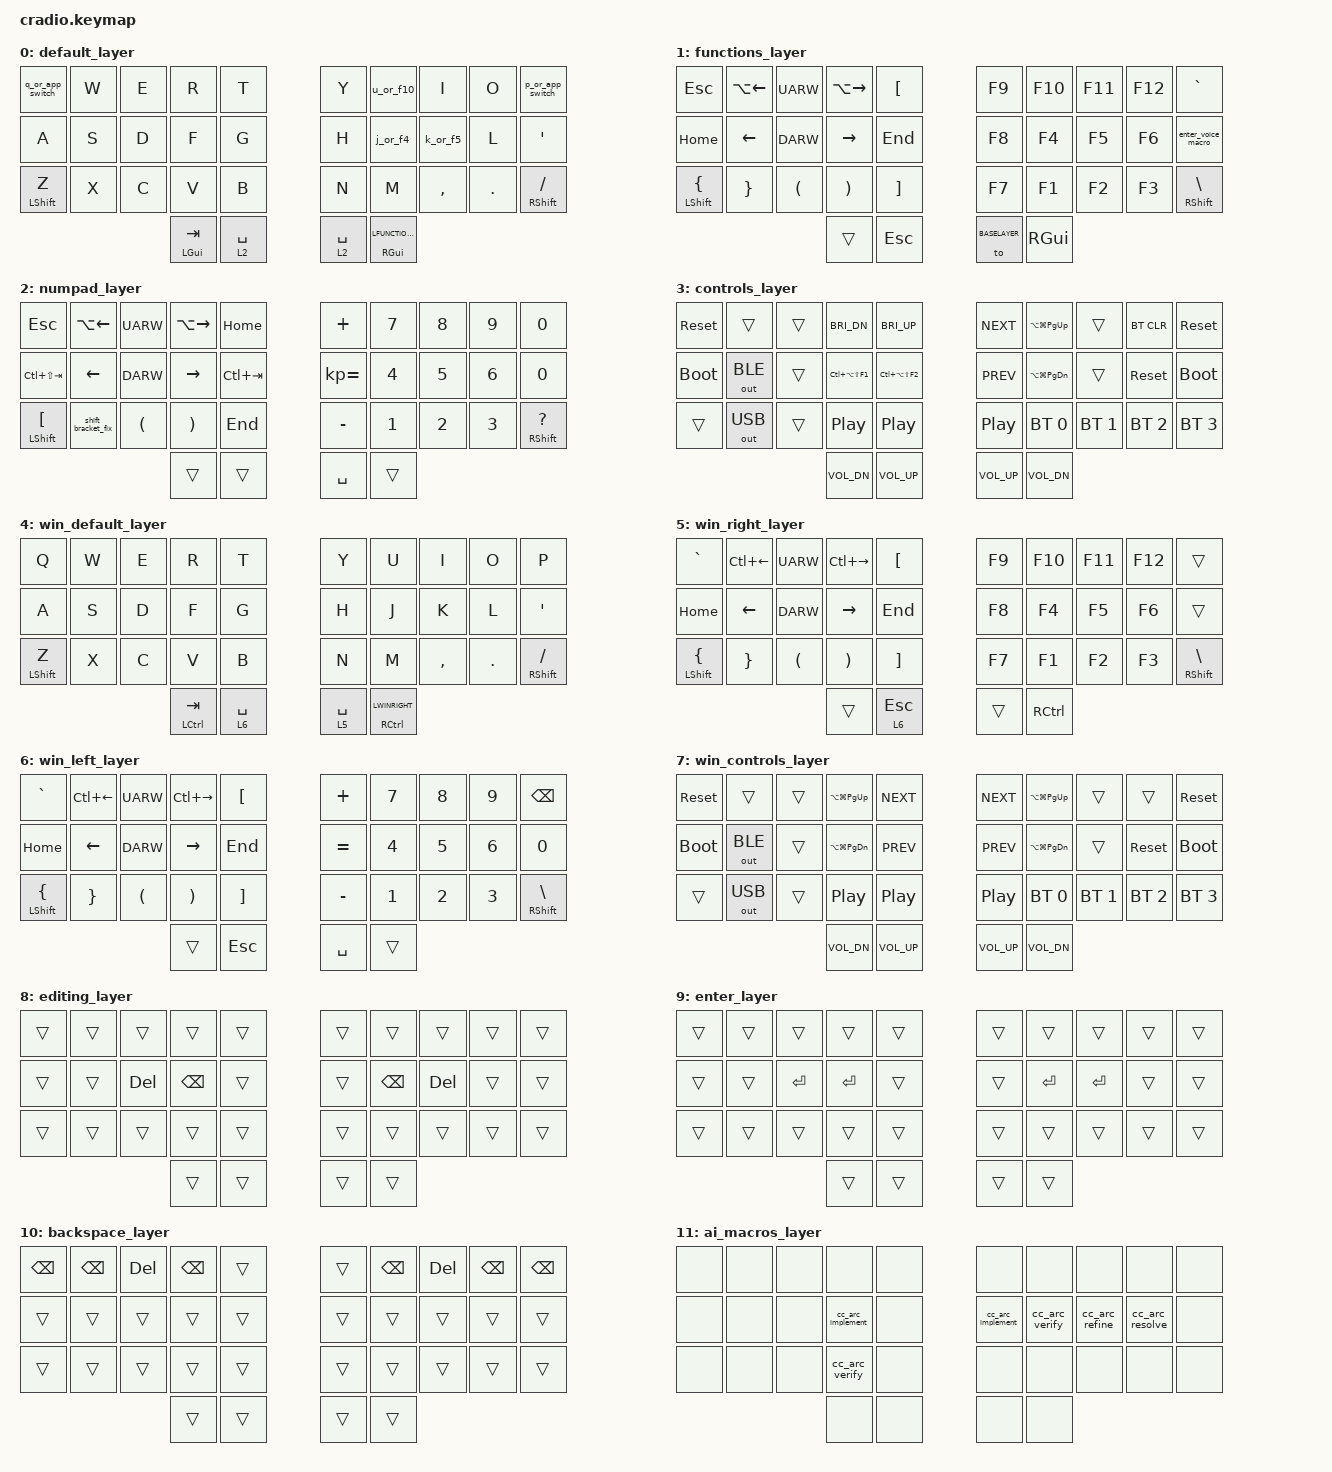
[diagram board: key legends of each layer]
// Copyright (c) 2022 The ZMK Contributors
// SPDX-License-Identifier: MIT

#include <behaviors.dtsi>
#include <dt-bindings/zmk/keys.h>
#include <dt-bindings/zmk/bt.h>
#include <dt-bindings/zmk/outputs.h>
//#include <dt-binding/zmk/behavior-com
//#include <dt-bindings/zmk/behavior>

// Home row mods macro
//#define HRML(k1,k2,k3,k4) &ht LSHFT k1  &ht LALT k2  &ht LCTRL k3  &ht LGUI k4
//#define HRMR(k1,k2,k3,k4) &ht RGUI k1  &ht RCTRL k2  &ht RALT k3  &ht RSHFT k4

#define BASELAYER 0
#define LFUNCTIONS 1
#define LNUMPAD 2
#define LCONTROL 3
#define WINBASE 4
#define LWINRIGHT 5
#define LWINLEFT 6
#define LWINCONTROL 7
#define LEDITING 8
#define LENTER 9
#define LBACKSPACE 10
// #define LRIGHTARROWS 11
#define LAIMACROS 11
// #define LMACROS 9




// &lt {
//     flavor = "hold-preferred";
//     tapping-term-ms = <300>;
//     quick-tap-ms = <290>;
// };
// &mt {
//     flavor = "tap-preferred";
//     tapping-term-ms = <180>;
// };
//TODO: maybe this should be a separate behavior
&sl {
    // release-after-ms = <2000>;
    /delete-property/ quick-release;
};

/ {
    behaviors {
        // ht: hold_tap {
        //     label = "hold_tap";
        //     compatible = "zmk,behavior-hold-tap";
        //     #binding-cells = <2>;
        //     flavor = "tap-preferred";
        //     tapping-term-ms = <220>;
        //     quick-tap-ms = <150>;
        //     global-quick-tap;
        //     bindings = <&kp>, <&kp>;
        // };
        // lt: layer_tap {
        //     label = "layer_tap";
        //     flavor = "hold-preferred";
        //     compatible = "zmk,behavior-hold-tap";
        //     tapping-term-ms = <230>;
        //     quick-tap-ms = <100>;
        //     bindings = <&kp>, <&kp>;
        // };

        lt_h: layer_tap_hold_preferred {
            #binding-cells = <2>;
            label = "layer_tap_hold_preferred";
            flavor = "hold-preferred";
            compatible = "zmk,behavior-hold-tap";
            tapping-term-ms = <200>;
            hold-while-undecided;
            bindings = <&mo>, <&kp>;
        };

        // Like lt_h but only right-hand keys trigger hold within tapping term.
        // Left-hand keys resolve as tap (space). After tapping-term, hold activates for both sides.
        lt_rh: layer_tap_right_hand {
            #binding-cells = <2>;
            label = "layer_tap_right_hand";
            flavor = "balanced";
            compatible = "zmk,behavior-hold-tap";
            tapping-term-ms = <200>;
            hold-trigger-key-positions = <5 6 7 8 9 15 16 17 18 19 25 26 27 28 29 33>;
            bindings = <&mo>, <&kp>;
        };

        // ht_sl: layer_tap_reversed {
        //     #binding-cells = <2>;
        //     label = "layer_tap_reversed"; 
        //     flavor = "hold-preferred";
        //     compatible = "zmk,behavior-hold-tap";
        //     tapping-term-ms = <200>;
        //     bindings = <&kp>, <&sl>;
        // };
        
        // This was to try and make a sticky layer
        // tdf: tap_dance_0 {
        //     compatible = "zmk,behavior-tap-dance";
        //     label = "TAP_DANCE_0";
        //     #binding-cells = <0>;
        //     tapping-term-ms = <180>;
        //     bindings = <&sl LFUNCTIONS>, <&to LFUNCTIONS>;
        // };

        // Key on hold, single tap layer on tap,
        l_or_key: layer_or_key {
            #binding-cells = <2>;
            label = "layer_or_key";
            flavor = "hold-preferred";
            compatible = "zmk,behavior-hold-tap";
            tapping-term-ms = <200>;
            // bindings = <&kp>, <&tdf>;
            bindings = <&kp>, <&sl>;
        };

        // Mod-tap with hold-preferred: immediately activates modifier when another key is pressed
        mt_h: mod_tap_hold_preferred {
            #binding-cells = <2>;
            label = "mod_tap_hold_preferred";
            flavor = "hold-preferred";
            compatible = "zmk,behavior-hold-tap";
            tapping-term-ms = <200>;
            bindings = <&kp>, <&kp>;
        };

        // Backspace, but delete if shift is held
        // bpsc_or_del: bpsc_or_del {
        //     compatible = "zmk,behavior-mod-morph";
        //     label = "bpsc_or_del";
        //     #binding-cells = <0>;
        //     bindings = <&kp BSPC>, <&kp DEL>;
        //     mods = <(MOD_RSFT|MOD_LSFT)>;
        // };

        // Avoid messing up when doing enclosed brackets quickly since they share the shift key
        shift_bracket_fix: shift_bracket_fix {
            compatible = "zmk,behavior-mod-morph";
            label = "shift_bracket_fix";
            #binding-cells = <0>;
            bindings = <&kp RBKT>, <&brackets_macro>;
            mods = <(MOD_LSFT)>;
        };

        //
        // The exceptions for function layer
        //
        j_or_f4: j_or_f4 {
            compatible = "zmk,behavior-mod-morph";
            label = "j_or_f4";
            #binding-cells = <0>;
            bindings = <&kp J>, <&kp F4>;
            mods = <(MOD_RGUI)>;
        };

        k_or_f5: k_or_f5 {
            compatible = "zmk,behavior-mod-morph";
            label = "k_or_f5";
            #binding-cells = <0>;
            bindings = <&kp K>, <&kp F5>;
            mods = <(MOD_RGUI)>;
        };

        comma_or_voice: comma_or_voice {
            compatible = "zmk,behavior-mod-morph";
            label = "comma_or_voice";
            #binding-cells = <0>;
            bindings = <&kp COMMA>, <&kp C_VOICE_COMMAND>;
            mods = <(MOD_RGUI)>;
        };

        u_or_f10: u_or_f10 {
            compatible = "zmk,behavior-mod-morph";
            label = "u_or_f10";
            #binding-cells = <0>;
            bindings = <&kp U>, <&kp F10>;
            mods = <(MOD_RGUI)>;
        };

        // The exceptions for LGUI
        q_or_app_switch: q_or_app_switch {
            compatible = "zmk,behavior-mod-morph";
            label = "q_or_app_switch";
            #binding-cells = <0>;
            bindings = <&kp Q>, <&kp TAB>;
            mods = <(MOD_LGUI)>;
            keep-mods = <(MOD_LGUI)>;
        };
        q_or_capslock: q_or_capslock {
            compatible = "zmk,behavior-mod-morph";
            label = "q_or_capslock";
            #binding-cells = <0>;
            bindings = <&kp Q>, <&kp CAPS>;
            mods = <(MOD_LGUI)>;
        };
        p_or_app_switch: p_or_app_switch {
            compatible = "zmk,behavior-mod-morph";
            label = "p_or_app_switch";
            #binding-cells = <0>;
            bindings = <&kp P>, <&kp TAB>;
            mods = <(MOD_RGUI)>;
            keep-mods = <(MOD_RGUI)>;
        };
        p_or_tab: p_or_tab {
            compatible = "zmk,behavior-mod-morph";
            label = "p_or_tab";
            #binding-cells = <0>;
            bindings = <&kp P>, <&kp TAB>;
            mods = <MOD_RGUI>;
        };
    };

    macros {
        editing_macro: editing_macro {
            compatible = "zmk,behavior-macro";
            label = "ZM_editing_macro";
            #binding-cells = <0>;
            wait-ms = <0>;
            tap-ms = <40>;
            // bindings = <&kp BSPC &mo LEDITING>;
            bindings
                = <&kp BACKSPACE>
                , <&macro_press &mo LBACKSPACE>
                , <&macro_pause_for_release>
                , <&macro_release &mo LBACKSPACE>
                ;
        };

        // Allows moving to the enter layer while sending an enter on the first press
        enter_macro: enter_macro {
            compatible = "zmk,behavior-macro";
            label = "ZM_enter_macro";
            #binding-cells = <0>;
            wait-ms = <0>;
            tap-ms = <40>;
            // bindings = <&kp BSPC &mo LEDITING>;
            bindings
                = <&kp ENTER>
                , <&macro_press &mo LENTER>
                , <&macro_pause_for_release>
                , <&macro_release &mo LENTER>
                ;
        };

        brackets_macro: brackets_macro {
            compatible = "zmk,behavior-macro";
            label = "ZM_brackets_macro";
            #binding-cells = <0>;
            wait-ms = <40>;
            tap-ms = <40>;
            bindings
                = <&kp LBKT &kp RBKT>
                ;
        };

        // Toggle Claude Code edit mode and refocus chat input
        cc_edit_mode: cc_edit_mode {
            compatible = "zmk,behavior-macro";
            label = "ZM_cc_edit_mode";
            #binding-cells = <0>;
            wait-ms = <40>;
            tap-ms = <40>;
            bindings
                = <&kp TAB>
                , <&kp SPACE>
                , <&kp LS(TAB)>
                ;
        };

        // Toggle Claude Code edit mode then open menu to a section
        cc_edit_menu: cc_edit_menu {
            compatible = "zmk,behavior-macro";
            label = "ZM_cc_edit_menu";
            #binding-cells = <0>;
            wait-ms = <40>;
            tap-ms = <40>;
            bindings
                = <&kp TAB>
                , <&kp SPACE>
                , <&kp TAB>
                , <&kp TAB>
                , <&kp TAB>
                , <&kp SPACE>
                , <&kp DOWN> , <&kp DOWN> , <&kp DOWN> , <&kp DOWN> , <&kp DOWN>
                , <&kp DOWN> , <&kp DOWN> , <&kp DOWN> , <&kp DOWN> , <&kp DOWN>
                , <&kp DOWN> , <&kp DOWN> , <&kp DOWN> , <&kp DOWN> , <&kp DOWN>
                , <&kp DOWN> , <&kp DOWN>
                ;
        };

        // Type /clear, submit, then toggle edit mode and open menu
        cc_clear_edit_menu: cc_clear_edit_menu {
            compatible = "zmk,behavior-macro";
            label = "ZM_cc_clear_edit_menu";
            #binding-cells = <0>;
            wait-ms = <20>;
            tap-ms = <40>;
            bindings
                = <&kp FSLH &kp C &kp L &kp E &kp A &kp R>
                , <&kp ENTER>
                , <&macro_wait_time 750>
                , <&kp TAB>
                , <&macro_wait_time 100>
                , <&kp SPACE>
                , <&macro_wait_time 250>
                , <&kp TAB>
                , <&kp TAB>
                , <&kp TAB>
                , <&macro_wait_time 50>
                , <&kp SPACE>
                , <&macro_wait_time 250>
                , <&kp DOWN> , <&kp DOWN> , <&kp DOWN> , <&kp DOWN> , <&kp DOWN>
                , <&kp DOWN> , <&kp DOWN> , <&kp DOWN> , <&kp DOWN> , <&kp DOWN>
                , <&kp DOWN> , <&kp DOWN> , <&kp DOWN> , <&kp DOWN> , <&kp DOWN>
                , <&kp DOWN> , <&kp DOWN>
                ;
        };

        // Shared prefix: type /clear, submit, wait, shift+tab to refocus
        cc_clear_focus: cc_clear_focus {
            compatible = "zmk,behavior-macro";
            label = "ZM_cc_clear_focus";
            #binding-cells = <0>;
            wait-ms = <20>;
            tap-ms = <40>;
            bindings
                = <&kp FSLH &kp C &kp L &kp E &kp A &kp R>
                , <&kp ENTER>
                , <&macro_wait_time 500>
                , <&kp LS(TAB)>
                , <&macro_wait_time 150>
                ;
        };

        // /clear then type /arc-
        cc_clear_arc: cc_clear_arc {
            compatible = "zmk,behavior-macro";
            label = "ZM_cc_clear_arc";
            #binding-cells = <0>;
            wait-ms = <20>;
            tap-ms = <40>;
            bindings = <&cc_clear_focus>, <&kp FSLH &kp A &kp R &kp C &kp MINUS>;
        };

        // /clear then type /spec-
        cc_clear_spec: cc_clear_spec {
            compatible = "zmk,behavior-macro";
            label = "ZM_cc_clear_spec";
            #binding-cells = <0>;
            wait-ms = <20>;
            tap-ms = <40>;
            bindings = <&cc_clear_focus>, <&kp FSLH &kp S &kp P &kp E &kp C &kp MINUS>;
        };

        // /clear then type /arc-implement
        cc_arc_implement: cc_arc_implement {
            compatible = "zmk,behavior-macro";
            label = "ZM_cc_arc_implement";
            #binding-cells = <0>;
            wait-ms = <20>;
            tap-ms = <40>;
            bindings = <&cc_clear_focus>, <&kp FSLH &kp A &kp R &kp C &kp MINUS &kp I &kp M &kp P &kp L &kp E &kp M &kp E &kp N &kp T>;
        };

        // /clear then type /arc-verify-implementation
        cc_arc_verify: cc_arc_verify {
            compatible = "zmk,behavior-macro";
            label = "ZM_cc_arc_verify";
            #binding-cells = <0>;
            wait-ms = <20>;
            tap-ms = <40>;
            bindings = <&cc_clear_focus>, <&kp FSLH &kp A &kp R &kp C &kp MINUS &kp V &kp E &kp R &kp I &kp F &kp Y &kp MINUS &kp I &kp M &kp P &kp L &kp E &kp M &kp E &kp N &kp T &kp A &kp T &kp I &kp O &kp N>;
        };

        // /clear then type /arc-refine-plan
        cc_arc_refine: cc_arc_refine {
            compatible = "zmk,behavior-macro";
            label = "ZM_cc_arc_refine";
            #binding-cells = <0>;
            wait-ms = <20>;
            tap-ms = <40>;
            bindings = <&cc_clear_focus>, <&kp FSLH &kp A &kp R &kp C &kp MINUS &kp R &kp E &kp F &kp I &kp N &kp E &kp MINUS &kp P &kp L &kp A &kp N>;
        };

        // /clear then type /arc-resolve-plan-issues
        cc_arc_resolve: cc_arc_resolve {
            compatible = "zmk,behavior-macro";
            label = "ZM_cc_arc_resolve";
            #binding-cells = <0>;
            wait-ms = <20>;
            tap-ms = <40>;
            bindings = <&cc_clear_focus>, <&kp FSLH &kp A &kp R &kp C &kp MINUS &kp R &kp E &kp S &kp O &kp L &kp V &kp E &kp MINUS &kp P &kp L &kp A &kp N &kp MINUS &kp I &kp S &kp S &kp U &kp E &kp S>;
        };

        // Enter then RGUI+COMMA (e.g., for voice input after submit)
        enter_voice_macro: enter_voice_macro {
            compatible = "zmk,behavior-macro";
            label = "ZM_enter_voice_macro";
            #binding-cells = <0>;
            wait-ms = <80>;
            tap-ms = <40>;
            bindings
                = <&kp ENTER>
                , <&kp RG(COMMA)>
                ;
        };

    };

    combos {
        compatible = "zmk,combos";

        // combo_esc {
        //     timeout-ms = <30>;
        //     key-positions = <0 1>;
        //     bindings = <&kp ESC>;
        // };
        // combo_bootloader {
        //     timeout-ms = <50>;
        //     key-positions = <0 1 2 3 4>;
        //     bindings = <&bootloader>;
        // };
        // combo_bootloader_both {
        //     timeout-ms = <70>;
        //     key-positions = <0 1 2 3 6 7 8 9>;
        //     bindings = <&bootloader>;
        // };

        // Enter and semi
        combo_enter_right {
            timeout-ms = <160>;
            slow-release;
            key-positions = <16 17 18>;
            bindings = <&enter_macro>;
            layers = <0 1 2 4 5 6>;
        };
        combo_enter_left {
            timeout-ms = <160>;
            slow-release;
            key-positions = <11 12 13>;
            bindings = <&enter_macro>;
            layers = <0 1 2 4 5 6>;
        };
        combo_semicolon_right {
            timeout-ms = <160>;
            key-positions = <16 17 18 19>;
            bindings = <&kp SEMICOLON>;
            layers = <0>;
        };

        // Used for doc formatting in VS Code
        // combo_shift_alt_f {
        //     timeout-ms = <160>;
        //     key-positions = <10 11 12 13>;
        //     bindings = <&kp LS(LA(F))>;
        //     layers = <0>;
        // };

        // AI macros layer (hold A+S, tap others)
        combo_ai_macros {
            timeout-ms = <160>;
            slow-release;
            key-positions = <10 11 12 13>;
            bindings = <&mo LAIMACROS>;
            layers = <0>;
        };
        
        // Claude Code: clear and type /spec-
        combo_cc_clear_spec {
            timeout-ms = <160>;
            key-positions = <11 12 13 14>;
            bindings = <&cc_clear_spec>;
            layers = <0>;
        };

        // Esc
        // combo_esc_left {
        //     timeout-ms = <100>;
        //     key-positions = <0 1 2 3>;
        //     bindings = <&kp ESC>;
        //     layers = <0 1 2 4 5 6>;
        // };

        // Caps
        combo_caps {
            timeout-ms = <120>;
            key-positions = <0 1 2>;
            bindings = <&kp CAPSLOCK>;
            layers = <0 1 2 4 5 6>;
        };

        // Backspace and delete
        // combo_delete_right {
        //     timeout-ms = <180>;
        //     key-positions = <8 9>;
        //     bindings = <&kp DEL>;
        //     layers = <LNUMPAD LWINLEFT>;
        // };
        // combo_backspace_left {
        //     timeout-ms = <80>;
        //     key-positions = <1 2 3>;
        //     bindings = <&kp BACKSPACE>;
        //     layers = <0 1 2 4 5 6>;
        // };
        // combo_delete_left {
        //     timeout-ms = <100>;
        //     key-positions = <0 1 2>;
        //     bindings = <&kp DEL>;
        //     layers = <0 1 2 4 5 6>;
        // };

        // To fix accidental two key preseses with right thumb
        // combo_rightspaces {
        //     timeout-ms = <110>;
        //     key-positions = <32 33>;
        //     bindings = <&kp SPACE>;
        // };

        // The system control layers
        combo_controllayerleft {
            timeout-ms = <220>;
            key-positions = <1 2 3 4>;
            slow-release;
            bindings = <&mo 3>;
            layers = <0 1 2 4 5 6>;
        };
        combo_controllayerright {
            timeout-ms = <220>;
            key-positions = <5 15 25>;
            slow-release;
            bindings = <&mo 3>;
            layers = <0 1 2 4 5 6>;
        };

        // Alt and Ctrl
        combo_leftcontrol {
            timeout-ms = <90>;
            key-positions = <20 21 22>;
            // Doing slow release here only for the left hand so ctrl-c will be easy
            slow-release;
            bindings = <&kp LCTRL>;
            layers = <0 1 2>;
        };
        combo_rightcontrol {
            timeout-ms = <90>;
            key-positions = <27 28 29>;
            bindings = <&kp RCTRL>;
            layers = <0 1 2>;
        };
        combo_leftalt {
            timeout-ms = <90>;
            key-positions = <22 23 24>;
            bindings = <&kp LALT>;
            layers = <0 1 2>;
        };
        combo_rightalt {
            timeout-ms = <90>;
            key-positions = <25 26 27>;
            bindings = <&kp RALT>;
            layers = <0 1 2>;
        };

        // Win Alt and Ctl
        win_combo_leftcontrol {
            timeout-ms = <90>;
            key-positions = <20 21 22>;
            // Doing slow release here only for the left hand so ctrl-c will be easy
            slow-release;
            bindings = <&kp LALT>;
            layers = <4 5 6>;
        };
        win_combo_rightcontrol {
            timeout-ms = <90>;
            key-positions = <27 28 29>;
            bindings = <&kp RALT>;
            layers = <4 5 6>;
        };
        win_combo_leftalt {
            timeout-ms = <90>;
            key-positions = <22 23 24>;
            bindings = <&kp LGUI>;
            layers = <4 5 6>;
        };
        win_combo_rightalt {
            timeout-ms = <90>;
            key-positions = <25 26 27>;
            bindings = <&kp RGUI>;
            layers = <4 5 6>;
        };

        // Clipboard with right hand
        cut_right {
            timeout-ms = <120>;
            key-positions = <5 6 7 8>;
            bindings = <&kp LG(X)>;
            layers = <0>;
        };
        copy_right {
            timeout-ms = <120>;
            key-positions = <15 16 17 18>;
            bindings = <&kp LG(C)>;
            layers = <0>;
        };
        paste_right {
            timeout-ms = <120>;
            key-positions =<26 27 28 29>;
            bindings = <&kp LG(V)>;
            layers = <0>;
        };


        // Win Clipboard with right hand
        win_cut_right {
            timeout-ms = <120>;
            key-positions = <5 6 7 8>;
            bindings = <&kp LC(X)>;
            layers = <4>;
        };
        win_copy_right {
            timeout-ms = <120>;
            key-positions = <15 16 17 18>;
            bindings = <&kp LC(C)>;
            layers = <4>;
        };
        win_paste_right {
            timeout-ms = <120>;
            key-positions =<26 27 28 29>;
            bindings = <&kp LC(V)>;
            layers = <4>;
        };

        // Win/Mac switching
        winmacswitch_right { 
            timeout-ms = <600>;
            key-positions =<9 19 29>;
            bindings = <&to WINBASE>;
            layers = <BASELAYER>;
        };
        winmacswitch_left { 
            timeout-ms = <600>;
            key-positions =<0 10 20>;
            bindings = <&to WINBASE>;
            layers = <BASELAYER>;
        };
        win_winmacswitch_right { 
            timeout-ms = <600>;
            key-positions =<9 19 29>;
            bindings = <&to BASELAYER>;
            layers = <WINBASE>;
        };
        win_winmacswitch_left { 
            timeout-ms = <600>;
            key-positions =<0 10 20>;
            bindings = <&to BASELAYER>;
            layers = <WINBASE>;
        };

        // Num pad lock
        // numpad_lock {
        //     timeout-ms = <300>;
        //     key-positions = <15 16 17 18>;
        //     bindings = <&to LNUMPAD>;
        //     layers = <BASELAYER>;
        // };
        // numpad_unlock {
        //     timeout-ms = <300>;
        //     key-positions = <15 16 17 18>;
        //     bindings = <&to BASELAYER>;
        //     layers = <LNUMPAD>;
        // };

        // win_numpad_lock {
        //     timeout-ms = <300>;
        //     key-positions = <15 16 17 18>;
        //     bindings = <&to LWINLEFT>;
        //     layers = <WINBASE>;
        // };
        // win_numpad_unlock {
        //     timeout-ms = <300>;
        //     key-positions = <15 16 17 18>;
        //     bindings = <&to WINBASE>;
        //     layers = <LWINLEFT>;
        // };

        //Editing
        combo_editing_with_bspc_right {
            timeout-ms = <460>;
            slow-release;
            key-positions = <6 7 8 9>;
            bindings = <&editing_macro>;
            layers = <0 1 2 4 5 6>;
        };
        // Handle accidentally hitting 19 instead of 9
        combo_editing_with_bspc_right_alt {
            timeout-ms = <460>;
            slow-release;
            key-positions = <6 7 8 19>;
            bindings = <&editing_macro>;
            layers = <0 1 2 4 5 6>;
        };
        // Handle accidentally hitting both 9 and 19
        combo_editing_with_bspc_right_both {
            timeout-ms = <460>;
            slow-release;
            key-positions = <6 7 8 9 19>;
            bindings = <&editing_macro>;
            layers = <0 1 2 4 5 6>;
        };
        // combo_editing_right {
        //     timeout-ms = <200>;
        //     slow-release;
        //     key-positions = <6 8 9>;
        //     bindings = <&mo LBACKSPACE>;
        //     layers = <0 1 2 4 5 6>;
        // };
        combo_editing_with_bspc_left {
            timeout-ms = <360>;
            slow-release;
            key-positions = <0 1 2 3>;
            bindings = <&editing_macro>;
            layers = <0 1 2 4 5 6>;
        };
        // combo_editing_left {
        //     timeout-ms = <200>;
        //     slow-release;
        //     key-positions = <1 2 4>;
        //     bindings = <&mo LBACKSPACE>;
        //     layers = <0 1 2 4 5 6>;
        // };

        // Function layer locking
        // fn_lock {
        //     timeout-ms = <300>;
        //     key-positions = <15 16 17 18>;
        //     bindings = <&to LFUNCTIONS>;
        //     layers = <BASELAYER>;
        // };
        // fn_unlock {
        //     timeout-ms = <300>;
        //     key-positions = <15 16 17 18>;
        //     bindings = <&to BASELAYER>;
        //     layers = <LFUNCTIONS>;
        // };

        
    };

    // conditional_layers {
    //     compatible = "zmk,conditional-layers";
    //     tri_layer {
    //         if-layers = <1 2>;
    //         then-layer = <3>;
    //     };
    // };

    keymap {
        compatible = "zmk,keymap";

        default_layer {
            bindings = <
        //╭────────────┬────────────┬────────────┬────────────┬────────────╮   ╭────────────┬────────────┬────────────┬────────────┬────────────╮
        //│  Q (+Tab)  │     W      │     E      │     R      │     T      │   │     Y      │  U (+F10)  │     I      │     O      │  P (+Tab)  │
          &q_or_app_switch  &kp W       &kp E        &kp R        &kp T           &kp Y       &u_or_f10     &kp I        &kp O     &p_or_app_switch
        //├────────────┼────────────┼────────────┼────────────┼────────────┤   ├────────────┼────────────┼────────────┼────────────┼────────────┤
        //│     A      │     S      │     D      │     F      │     G      │   │     H      │  J (+F4)   │  K (+F5)   │     L      │    ' "     │
             &kp A        &kp S        &kp D        &kp F        &kp G           &kp H        &j_or_f4     &k_or_f5      &kp L       &kp SQT
        //├────────────┼────────────┼────────────┼────────────┼────────────┤   ├────────────┼────────────┼────────────┼────────────┼────────────┤
        //│  Z / Shft  │     X      │     C      │     V      │     B      │   │     N      │     M      │      ,     │    . >     │  /? / Shft │
          &mt LSHFT Z     &kp X        &kp C        &kp V        &kp B           &kp N        &kp M       &kp COMMA      &kp DOT    &mt RSHFT FSLH
        //╰────────────┴────────────┴────────────┼────────────┼────────────┤   ├────────────┼────────────┼────────────┴────────────┴────────────╯
        //                                       │  Tab / Gui │ Space / Num│   │ Space / Num│ Gui / Func │
                                                &mt_h LGUI TAB &lt_h 2 SPACE   &lt_rh 2 SPACE  &l_or_key RGUI LFUNCTIONS
        //                                       ╰────────────┴────────────╯   ╰────────────┴────────────╯
            >;
        };

        functions_layer {
            bindings = <
        //╭────────────┬────────────┬────────────┬────────────┬────────────╮   ╭────────────┬────────────┬────────────┬────────────┬────────────╮
        //│    Esc     │  Alt+Left  │     Up     │ Alt+Right  │    [ {     │   │     F9     │    F10     │    F11     │    F12     │    ` ~     │
            &kp ESC    &kp LA(LEFT)   &kp UARW   &kp LA(RIGHT)  &kp LBKT         &kp F9       &kp F10      &kp F11      &kp F12      &kp GRAVE
        //├────────────┼────────────┼────────────┼────────────┼────────────┤   ├────────────┼────────────┼────────────┼────────────┼────────────┤
        //│    Home    │    Left    │    Down    │   Right    │    End     │   │     F8     │     F4     │     F5     │     F6     │ Ent+Voice  │
            &kp HOME     &kp LEFT     &kp DARW    &kp RIGHT      &kp END          &kp F8       &kp F4       &kp F5       &kp F6  &enter_voice_macro
        //├────────────┼────────────┼────────────┼────────────┼────────────┤   ├────────────┼────────────┼────────────┼────────────┼────────────┤
        //│  { / Shft  │    } ]     │     (      │     )      │    ] }     │   │     F7     │     F1     │     F2     │     F3     │  \ / Shft  │
         &mt LSHFT LBRC   &kp RBRC    &kp LPAR     &kp RPAR     &kp RBKT          &kp F7       &kp F1       &kp F2       &kp F3   &mt RSHFT BSLH
        //╰────────────┴────────────┴────────────┼────────────┼────────────┤   ├────────────┼────────────┼────────────┴────────────┴────────────╯
        //                                       │   (held)   │    Esc     │   │  To Base   │    Gui     │
                                                    &trans       &kp ESC       &to BASELAYER  &kp RGUI
        //                                       ╰────────────┴────────────╯   ╰────────────┴────────────╯
            >;
        };

        numpad_layer {
            bindings = <
        //╭────────────┬────────────┬────────────┬────────────┬────────────╮   ╭────────────┬────────────┬────────────┬────────────┬────────────╮
        //│    Esc     │  Alt+Left  │     Up     │ Alt+Right  │    Home    │   │     +      │     7      │     8      │     9      │     0      │
            &kp ESC    &kp LA(LEFT)   &kp UARW   &kp LA(RIGHT)  &kp HOME        &kp PLUS      &kp N7       &kp N8       &kp N9       &kp N0
        //├────────────┼────────────┼────────────┼────────────┼────────────┤   ├────────────┼────────────┼────────────┼────────────┼────────────┤
        //│Ctrl+Shf+Tab │    Left    │    Down    │   Right    │  Ctrl+Tab  │   │     =      │     4      │     5      │     6      │     0      │
         &kp LC(LS(TAB))  &kp LEFT  &kp DARW    &kp RIGHT  &kp LC(TAB)    &kp KP_EQUAL &kp N4      &kp N5       &kp N6       &kp N0
        //├────────────┼────────────┼────────────┼────────────┼────────────┤   ├────────────┼────────────┼────────────┼────────────┼────────────┤
        //│  [ / Shft  │ ] / Shf:[] │     (      │     )      │    End     │   │     -      │     1      │     2      │     3      │  ? / Shft  │
         &mt LSHFT LBKT &shift_bracket_fix &kp LPAR  &kp RPAR     &kp END       &kp MINUS     &kp N1       &kp N2       &kp N3   &mt RSHFT QMARK
        //╰────────────┴────────────┴────────────┼────────────┼────────────┤   ├────────────┼────────────┼────────────┴────────────┴────────────╯
        //                                       │   (held)   │   trans    │   │   Space    │   (held)   │
                                                    &trans       &trans         &kp SPACE      &trans
        //                                       ╰────────────┴────────────╯   ╰────────────┴────────────╯
            >;
        };

        controls_layer {
            bindings = <
        //╭────────────┬────────────┬────────────┬────────────┬────────────╮   ╭────────────┬────────────┬────────────┬────────────┬────────────╮
        //│   Reset    │            │            │ Bright Dn  │ Bright Up  │   │ Media Next │ Opt+Cmd+   │            │  BT Clear  │   Reset    │
        //│            │            │            │            │            │   │            │   PgUp     │            │            │            │
          &sys_reset     &trans       &trans   &kp C_BRI_DN   &kp C_BRI_UP &kp C_NEXT &kp LA(LG(PG_UP)) &trans   &bt BT_CLR  &sys_reset
        //├────────────┼────────────┼────────────┼────────────┼────────────┤   ├────────────┼────────────┼────────────┼────────────┼────────────┤
        //│ Bootloader │  Out: BLE  │            │C+O+S+F1    │C+O+S+F2   │   │ Media Prev │ Opt+Cmd+   │            │   Reset    │ Bootloader │
        //│            │            │            │            │            │   │            │   PgDn     │            │            │            │
          &bootloader  &out OUT_BLE   &trans   &kp LC(LA(LS(F1))) &kp LC(LA(LS(F2))) &kp C_PREV &kp LA(LG(PG_DN)) &trans  &sys_reset  &bootloader
        //├────────────┼────────────┼────────────┼────────────┼────────────┤   ├────────────┼────────────┼────────────┼────────────┼────────────┤
        //│            │  Out: USB  │            │ Play/Pause │ Play/Pause │   │ Play/Pause │    BT 0    │    BT 1    │    BT 2    │    BT 3    │
              &trans   &out OUT_USB    &trans      &kp C_PP     &kp C_PP         &kp C_PP  &bt BT_SEL 0 &bt BT_SEL 1 &bt BT_SEL 2 &bt BT_SEL 3
        //╰────────────┴────────────┴────────────┼────────────┼────────────┤   ├────────────┼────────────┼────────────┴────────────┴────────────╯
        //                                       │  Vol Down  │   Vol Up   │   │   Vol Up   │  Vol Down  │
                                                 &kp C_VOL_DN  &kp C_VOL_UP     &kp C_VOL_UP &kp C_VOL_DN
        //                                       ╰────────────┴────────────╯   ╰────────────┴────────────╯
            >;
        };

        win_default_layer {
            bindings = <
        //╭────────────┬────────────┬────────────┬────────────┬────────────╮   ╭────────────┬────────────┬────────────┬────────────┬────────────╮
        //│     Q      │     W      │     E      │     R      │     T      │   │     Y      │     U      │     I      │     O      │     P      │
             &kp Q        &kp W        &kp E        &kp R        &kp T           &kp Y        &kp U        &kp I        &kp O        &kp P
        //├────────────┼────────────┼────────────┼────────────┼────────────┤   ├────────────┼────────────┼────────────┼────────────┼────────────┤
        //│     A      │     S      │     D      │     F      │     G      │   │     H      │     J      │     K      │     L      │    ' "     │
             &kp A        &kp S        &kp D        &kp F        &kp G           &kp H        &kp J        &kp K        &kp L       &kp SQT
        //├────────────┼────────────┼────────────┼────────────┼────────────┤   ├────────────┼────────────┼────────────┼────────────┼────────────┤
        //│  Z / Shft  │     X      │     C      │     V      │     B      │   │     N      │     M      │    , <     │    . >     │  /? / Shft │
          &mt LSHFT Z     &kp X        &kp C        &kp V        &kp B           &kp N        &kp M      &kp COMMA     &kp DOT    &mt RSHFT FSLH
        //╰────────────┴────────────┴────────────┼────────────┼────────────┤   ├────────────┼────────────┼────────────┴────────────┴────────────╯
        //                                       │ Tab / Ctrl │ Space / Num│   │ Space / Fn │Ctrl / Func │
                                                &mt LCTRL TAB &lt_h 6 SPACE    &lt 5 SPACE  &l_or_key RCTRL LWINRIGHT
        //                                       ╰────────────┴────────────╯   ╰────────────┴────────────╯
            >;
        };

        win_right_layer {
            bindings = <
        //╭────────────┬────────────┬────────────┬────────────┬────────────╮   ╭────────────┬────────────┬────────────┬────────────┬────────────╮
        //│    ` ~     │ Ctrl+Left  │     Up     │ Ctrl+Right │    [ {     │   │     F9     │    F10     │    F11     │    F12     │            │
           &kp GRAVE   &kp LC(LEFT)   &kp UARW   &kp LC(RIGHT)  &kp LBKT         &kp F9       &kp F10      &kp F11      &kp F12      &trans
        //├────────────┼────────────┼────────────┼────────────┼────────────┤   ├────────────┼────────────┼────────────┼────────────┼────────────┤
        //│    Home    │    Left    │    Down    │   Right    │    End     │   │     F8     │     F4     │     F5     │     F6     │            │
            &kp HOME     &kp LEFT     &kp DARW    &kp RIGHT      &kp END          &kp F8       &kp F4       &kp F5       &kp F6       &trans
        //├────────────┼────────────┼────────────┼────────────┼────────────┤   ├────────────┼────────────┼────────────┼────────────┼────────────┤
        //│  { / Shft  │    } ]     │     (      │     )      │    ] }     │   │     F7     │     F1     │     F2     │     F3     │  \ / Shft  │
         &mt LSHFT LBRC   &kp RBRC    &kp LPAR     &kp RPAR     &kp RBKT          &kp F7       &kp F1       &kp F2       &kp F3   &mt RSHFT BSLH
        //╰────────────┴────────────┴────────────┼────────────┼────────────┤   ├────────────┼────────────┼────────────┴────────────┴────────────╯
        //                                       │   (held)   │  Esc / Num │   │   (held)   │    Ctrl    │
                                                    &trans     &lt_h 6 ESC        &trans      &kp RCTRL
        //                                       ╰────────────┴────────────╯   ╰────────────┴────────────╯
            >;
        };

        win_left_layer {
            bindings = <
        //╭────────────┬────────────┬────────────┬────────────┬────────────╮   ╭────────────┬────────────┬────────────┬────────────┬────────────╮
        //│    ` ~     │ Ctrl+Left  │     Up     │ Ctrl+Right │    [ {     │   │     +      │     7      │     8      │     9      │  Backspace │
           &kp GRAVE   &kp LC(LEFT)   &kp UARW   &kp LC(RIGHT)  &kp LBKT        &kp PLUS      &kp N7       &kp N8       &kp N9      &kp BSPC
        //├────────────┼────────────┼────────────┼────────────┼────────────┤   ├────────────┼────────────┼────────────┼────────────┼────────────┤
        //│    Home    │    Left    │    Down    │   Right    │    End     │   │     =      │     4      │     5      │     6      │     0      │
            &kp HOME     &kp LEFT     &kp DARW    &kp RIGHT      &kp END        &kp EQUAL     &kp N4       &kp N5       &kp N6       &kp N0
        //├────────────┼────────────┼────────────┼────────────┼────────────┤   ├────────────┼────────────┼────────────┼────────────┼────────────┤
        //│  { / Shft  │    } ]     │     (      │     )      │    ] }     │   │     -      │     1      │     2      │     3      │  \ / Shft  │
         &mt LSHFT LBRC   &kp RBRC    &kp LPAR     &kp RPAR     &kp RBKT       &kp MINUS      &kp N1       &kp N2       &kp N3   &mt RSHFT BSLH
        //╰────────────┴────────────┴────────────┼────────────┼────────────┤   ├────────────┼────────────┼────────────┴────────────┴────────────╯
        //                                       │   (held)   │    Esc     │   │   Space    │   (held)   │
                                                    &trans       &kp ESC        &kp SPACE      &trans
        //                                       ╰────────────┴────────────╯   ╰────────────┴────────────╯
            >;
        };

        win_controls_layer {
            bindings = <
        //╭────────────┬────────────┬────────────┬────────────┬────────────╮   ╭────────────┬────────────┬────────────┬────────────┬────────────╮
        //│   Reset    │            │            │ Alt+Win+   │ Media Next │   │ Media Next │ Alt+Win+   │            │            │   Reset    │
        //│            │            │            │   PgUp     │            │   │            │   PgUp     │            │            │            │
          &sys_reset     &trans       &trans   &kp LA(LG(PG_UP)) &kp C_NEXT     &kp C_NEXT &kp LA(LG(PG_UP)) &trans      &trans     &sys_reset
        //├────────────┼────────────┼────────────┼────────────┼────────────┤   ├────────────┼────────────┼────────────┼────────────┼────────────┤
        //│ Bootloader │  Out: BLE  │            │ Alt+Win+   │ Media Prev │   │ Media Prev │ Alt+Win+   │            │   Reset    │ Bootloader │
        //│            │            │            │   PgDn     │            │   │            │   PgDn     │            │            │            │
          &bootloader  &out OUT_BLE   &trans   &kp LA(LG(PG_DN)) &kp C_PREV     &kp C_PREV &kp LA(LG(PG_DN)) &trans    &sys_reset  &bootloader
        //├────────────┼────────────┼────────────┼────────────┼────────────┤   ├────────────┼────────────┼────────────┼────────────┼────────────┤
        //│            │  Out: USB  │            │ Play/Pause │ Play/Pause │   │ Play/Pause │    BT 0    │    BT 1    │    BT 2    │    BT 3    │
              &trans   &out OUT_USB    &trans      &kp C_PP     &kp C_PP         &kp C_PP  &bt BT_SEL 0 &bt BT_SEL 1 &bt BT_SEL 2 &bt BT_SEL 3
        //╰────────────┴────────────┴────────────┼────────────┼────────────┤   ├────────────┼────────────┼────────────┴────────────┴────────────╯
        //                                       │  Vol Down  │   Vol Up   │   │   Vol Up   │  Vol Down  │
                                                 &kp C_VOL_DN  &kp C_VOL_UP     &kp C_VOL_UP &kp C_VOL_DN
        //                                       ╰────────────┴────────────╯   ╰────────────┴────────────╯
            >;
        };

        editing_layer {
            bindings = <
        //╭────────────┬────────────┬────────────┬────────────┬────────────╮   ╭────────────┬────────────┬────────────┬────────────┬────────────╮
        //│            │            │            │            │            │   │            │            │            │            │            │
              &trans       &trans       &trans       &trans       &trans          &trans       &trans       &trans       &trans       &trans
        //├────────────┼────────────┼────────────┼────────────┼────────────┤   ├────────────┼────────────┼────────────┼────────────┼────────────┤
        //│            │            │   Delete   │  Backspace │            │   │            │  Backspace │   Delete   │            │            │
              &trans       &trans      &kp DEL      &kp BSPC      &trans          &trans      &kp BSPC      &kp DEL       &trans       &trans
        //├────────────┼────────────┼────────────┼────────────┼────────────┤   ├────────────┼────────────┼────────────┼────────────┼────────────┤
        //│            │            │            │            │            │   │            │            │            │            │            │
              &trans       &trans       &trans       &trans       &trans          &trans       &trans       &trans       &trans       &trans
        //╰────────────┴────────────┴────────────┼────────────┼────────────┤   ├────────────┼────────────┼────────────┴────────────┴────────────╯
        //                                       │            │            │   │            │            │
                                                    &trans       &trans          &trans       &trans
        //                                       ╰────────────┴────────────╯   ╰────────────┴────────────╯
            >;
        };

        enter_layer {
            bindings = <
        //╭────────────┬────────────┬────────────┬────────────┬────────────╮   ╭────────────┬────────────┬────────────┬────────────┬────────────╮
        //│            │            │            │            │            │   │            │            │            │            │            │
              &trans       &trans       &trans       &trans       &trans          &trans       &trans       &trans       &trans       &trans
        //├────────────┼────────────┼────────────┼────────────┼────────────┤   ├────────────┼────────────┼────────────┼────────────┼────────────┤
        //│            │            │   Enter    │   Enter    │            │   │            │   Enter    │   Enter    │            │            │
              &trans       &trans     &kp ENTER    &kp ENTER      &trans          &trans     &kp ENTER    &kp ENTER      &trans       &trans
        //├────────────┼────────────┼────────────┼────────────┼────────────┤   ├────────────┼────────────┼────────────┼────────────┼────────────┤
        //│            │            │            │            │            │   │            │            │            │            │            │
              &trans       &trans       &trans       &trans       &trans          &trans       &trans       &trans       &trans       &trans
        //╰────────────┴────────────┴────────────┼────────────┼────────────┤   ├────────────┼────────────┼────────────┴────────────┴────────────╯
        //                                       │            │            │   │            │            │
                                                    &trans       &trans          &trans       &trans
        //                                       ╰────────────┴────────────╯   ╰────────────┴────────────╯
            >;
        };

        backspace_layer {
            bindings = <
        //╭────────────┬────────────┬────────────┬────────────┬────────────╮   ╭────────────┬────────────┬────────────┬────────────┬────────────╮
        //│  Backspace │  Backspace │   Delete   │  Backspace │            │   │            │  Backspace │   Delete   │  Backspace │  Backspace │
            &kp BSPC     &kp BSPC      &kp DEL   &kp BACKSPACE    &trans          &trans      &kp BSPC      &kp DEL      &kp BSPC     &kp BSPC
        //├────────────┼────────────┼────────────┼────────────┼────────────┤   ├────────────┼────────────┼────────────┼────────────┼────────────┤
        //│            │            │            │            │            │   │            │            │            │            │            │
              &trans       &trans       &trans       &trans       &trans          &trans       &trans       &trans       &trans       &trans
        //├────────────┼────────────┼────────────┼────────────┼────────────┤   ├────────────┼────────────┼────────────┼────────────┼────────────┤
        //│            │            │            │            │            │   │            │            │            │            │            │
              &trans       &trans       &trans       &trans       &trans          &trans       &trans       &trans       &trans       &trans
        //╰────────────┴────────────┴────────────┼────────────┼────────────┤   ├────────────┼────────────┼────────────┴────────────┴────────────╯
        //                                       │            │            │   │            │            │
                                                    &trans       &trans          &trans       &trans
        //                                       ╰────────────┴────────────╯   ╰────────────┴────────────╯
            >;
        };

        ai_macros_layer {
            bindings = <
        //╭────────────┬────────────┬────────────┬────────────┬────────────╮   ╭────────────┬────────────┬────────────┬────────────┬────────────╮
        //│            │            │            │            │            │   │            │            │            │            │            │
              &none        &none        &none        &none        &none          &none        &none        &none        &none        &none
        //├────────────┼────────────┼────────────┼────────────┼────────────┤   ├────────────┼────────────┼────────────┼────────────┼────────────┤
        //│   (held)   │   (held)   │            │  /arc-     │            │   │ implement  │  verify    │  refine    │  resolve   │            │
              &none        &none        &none    &cc_arc_implement    &none     &cc_arc_implement &cc_arc_verify &cc_arc_refine &cc_arc_resolve &none
        //├────────────┼────────────┼────────────┼────────────┼────────────┤   ├────────────┼────────────┼────────────┼────────────┼────────────┤
        //│            │            │            │            │            │   │            │            │            │            │            │
              &none        &none        &none        &cc_arc_verify        &none          &none        &none        &none        &none        &none
        //╰────────────┴────────────┴────────────┼────────────┼────────────┤   ├────────────┼────────────┼────────────┴────────────┴────────────╯
        //                                       │            │            │   │            │            │
                                                    &none        &none          &none        &none
        //                                       ╰────────────┴────────────╯   ╰────────────┴────────────╯
            >;
        };

        // tri_layer {
        //     bindings = <
        // //╭──────────┬──────────┬──────────┬──────────┬──────────╮   ╭──────────┬──────────┬──────────┬──────────┬──────────╮
        // //│ RESET    │          │          │          │PROFILE 0 │   │          │          │          │          │  RESET   │
        //     &reset     &trans     &trans     &trans    &bt BT_SEL 0    &trans     &trans     &trans     &trans      &reset
        // //├──────────┼──────────┼──────────┼──────────┼──────────┤   ├──────────┼──────────┼──────────┼──────────┼──────────┤
        // //│BOOTLOADER│          │          │          │PROFILE 1 │   │          │          │          │          │BOOTLOADER│
        //   &bootloader  &trans     &trans     &trans    &bt BT_SEL 1    &trans     &trans     &trans     &trans    &bootloader
        // //├──────────┼──────────┼──────────┼──────────┼──────────┤   ├──────────┼──────────┼──────────┼──────────┼──────────┤
        // //│          │          │          │ CLEAR BT │PROFILE 2 │   │          │          │          │          │          │
        //     &trans     &trans     &trans    &bt BT_CLR &bt BT_SEL 2    &trans     &trans     &trans     &trans     &trans
        // //╰──────────┴──────────┴──────────┼──────────┼──────────┤   ├──────────┼──────────┼──────────┴──────────┴──────────╯
        //                                      &trans     &trans         &trans     &trans
        // //                                 ╰──────────┴──────────╯   ╰──────────┴──────────╯
        //     >;
        // };

        // system_layer {
        //     bindings = <
        // //╭──────────┬──────────┬──────────┬──────────┬──────────╮   ╭──────────┬──────────┬──────────┬──────────┬──────────╮
        // //│ RESET    │          │          │          │PROFILE 0 │   │          │          │          │          │          │
        //     &reset   &trans      &trans    &kp LA(LG(PG_UP))  &bt BT_SEL 0   &kp C_NEXT &kp LA(LG(PG_UP))  &trans     &trans      &trans
        // //├──────────┼──────────┼──────────┼──────────┼──────────┤   ├──────────┼──────────┼──────────┼──────────┼──────────┤
        // //│BOOTLOADER│          │          │          │PROFILE 1 │   │          │          │          │          │          │
        //   &bootloader &out OUT_BLE &trans &kp LA(LG(PG_DN))  &bt BT_SEL 1   &kp C_PREV   &kp LA(LG(PG_DN))  &trans     &reset    &bootloader
        // //├──────────┼──────────┼──────────┼──────────┼──────────┤   ├──────────┼──────────┼──────────┼──────────┼──────────┤
        // //│          │          │          │          │PROFILE 2 │   │          │          │          │          │          │
        //    &bt BT_CLR  &out OUT_USB  &trans  &trans      &bt BT_SEL 2     &kp C_PP   &kp C_PP     &trans     &trans     &trans
        // //╰──────────┴──────────┴──────────┼──────────┼──────────┤   ├──────────┼──────────┼──────────┴──────────┴──────────╯
        //                                 &kp C_VOL_DN  &kp C_VOL_UP    &kp C_VOL_UP  &kp C_VOL_DN
        // //                                 ╰──────────┴──────────╯   ╰──────────┴──────────╯
        //     >;
        // };
    };
};
